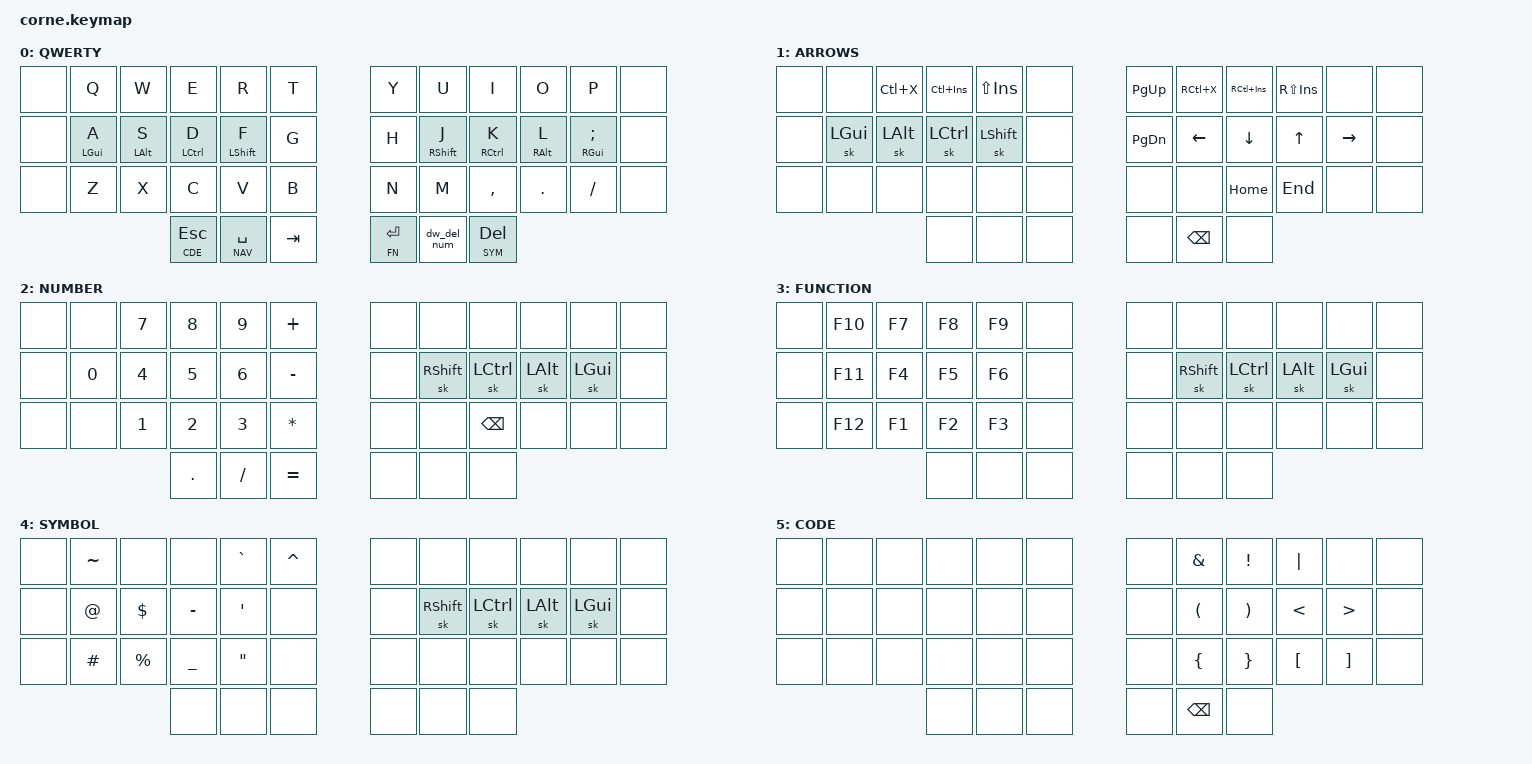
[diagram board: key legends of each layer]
/*
* Copyright (c) 2020 The ZMK Contributors
*
* SPDX-License-Identifier: MIT
*/

#include <behaviors.dtsi>
#include <dt-bindings/zmk/keys.h>

#include "zmk-helpers/helper.h"

// 42 key matrix
#include "zmk-helpers/key-labels/42.h"

/* global settings */

#define COMBO_TERM_FAST 18
#define COMBO_TERM_SLOW 30

#define COMBO_IDLE_FAST 150
#define COMBO_IDLE_SLOW 50

/* layer and key shortcuts */

#define XXX &none
#define ___ &trans

#define TAP_TERM_MS 250

#define DEF 0  // layer shortcuts, must match order in which they are defined below
#define NAV 1
#define NUM 2
#define FN 3
#define SYM 4
#define CDE 5

/* custom behaviors */

// homerow mods
ZMK_BEHAVIOR(hrm, hold_tap,
    flavor = "balanced";
    tapping-term-ms = <TAP_TERM_MS>;
    quick-tap-ms = <125>;
    bindings = <&kp>, <&kp>;
)

// tap: sticky shift | double tap: capsword
ZMK_BEHAVIOR(ss_cw, tap_dance,
    tapping-term-ms = <TAP_TERM_MS>;
    bindings = <&sk LSHFT>, <&caps_word>;
)

// tap: delete word (ctrl+backspace) | shift + tap: delete | hold: num layer
ZMK_BEHAVIOR(dw_del_num, mod_morph,
    bindings = <&lt NUM RC(BSPC)>, <&kp DEL>;
    mods = <(MOD_LSFT|MOD_RSFT)>;
)

/* combos */

// ZMK_COMBO(left_par, &kp LPAR, RT0 RT1, QWERTY, COMBO_TERM_FAST, COMBO_IDLE_FAST)
// ZMK_COMBO(right_par, &kp RPAR, RT2 RT3, QWERTY, COMBO_TERM_FAST, COMBO_IDLE_FAST)

/* keymap */

ZMK_LAYER(QWERTY,
     // ╭─────────────┬─────────────┬─────────────┬─────────────┬─────────────╮   ╭─────────────┬─────────────┬─────────────┬─────────────┬─────────────╮
          XXX &kp Q         &kp W         &kp E         &kp R         &kp T         &kp Y         &kp U         &kp I         &kp O         &kp P          XXX
     // ├─────────────┼─────────────┼─────────────┼─────────────┼─────────────┤   ├─────────────┼─────────────┼─────────────┼─────────────┼─────────────┤
          XXX &hrm LGUI A   &hrm LALT S   &hrm LCTRL D  &hrm LSHFT F  &kp G         &kp H         &hrm RSHFT J  &hrm RCTRL K  &hrm RALT L   &hrm RGUI SEMI XXX
     // ├─────────────┼─────────────┼─────────────┼─────────────┼─────────────┤   ├─────────────┼─────────────┼─────────────┼─────────────┼─────────────┤
          XXX &kp Z         &kp X         &kp C         &kp V         &kp B         &kp N         &kp M         &kp COMMA     &kp DOT       &kp FSLH       XXX
     // ╰─────────────┼─────────────┼─────────────┼─────────────┼─────────────┤   ├─────────────┼─────────────┼─────────────┼─────────────┼─────────────┤
                                      &lt CDE ESC      &lt NAV SPACE &kp TAB       &lt FN RET    &dw_del_num   &lt SYM DEL
     //                             ╰─────────────┴─────────────┴─────────────╯   ╰─────────────┴─────────────┴─────────────╯
)

ZMK_LAYER(ARROWS,
     // ╭─────────────┬─────────────┬─────────────┬─────────────┬─────────────╮   ╭─────────────┬─────────────┬─────────────┬─────────────┬─────────────╮
          XXX XXX       &kp LC(X)     &kp LC(INS)   &kp LS(INS)       XXX           &kp PG_UP     &kp RC(X)     &kp RC(INS)   &kp RS(INS)  XXX             XXX
     // ├─────────────┼─────────────┼─────────────┼─────────────┼─────────────┤   ├─────────────┼─────────────┼─────────────┼─────────────┼─────────────┤
          XXX &sk LGUI      &sk LALT      &sk LCTRL     &sk LSHFT     XXX           &kp PG_DN     &kp LEFT      &kp DOWN      &kp UP       &kp RIGHT       XXX
     // ├─────────────┼─────────────┼─────────────┼─────────────┼─────────────┤   ├─────────────┼─────────────┼─────────────┼─────────────┼─────────────┤
          XXX XXX           XXX           XXX           XXX           XXX           XXX           XXX           &kp HOME           &kp END          XXX    XXX
     // ╰─────────────┼─────────────┼─────────────┼─────────────┼─────────────┤   ├─────────────┼─────────────┼─────────────┼─────────────┼─────────────┤
                                      XXX           XXX           XXX               XXX           &kp BSPC          XXX
     //                             ╰─────────────┴─────────────┴─────────────╯   ╰─────────────┴─────────────┴─────────────╯
)

ZMK_LAYER(NUMBER,
     // ╭─────────────┬─────────────┬─────────────┬─────────────┬─────────────╮   ╭─────────────┬─────────────┬─────────────┬─────────────┬─────────────╮
          XXX XXX       &kp N7        &kp N8        &kp N9        &kp PLUS          XXX           XXX           XXX           XXX           XXX            XXX
     // ├─────────────┼─────────────┼─────────────┼─────────────┼─────────────┤   ├─────────────┼─────────────┼─────────────┼─────────────┼─────────────┤
          XXX &kp N0    &kp N4        &kp N5        &kp N6        &kp MINUS         XXX           &sk RSHFT     &sk LCTRL     &sk LALT      &sk LGUI       XXX
     // ├─────────────┼─────────────┼─────────────┼─────────────┼─────────────┤   ├─────────────┼─────────────┼─────────────┼─────────────┼─────────────┤
          XXX XXX       &kp N1        &kp N2        &kp N3        &kp STAR          XXX           XXX           &kp BSPC           XXX           XXX       XXX
     // ╰─────────────┼─────────────┼─────────────┼─────────────┼─────────────┤   ├─────────────┼─────────────┼─────────────┼─────────────┼─────────────┤
                                      &kp DOT       &kp FSLH      &kp EQUAL         XXX           XXX          XXX
     //                             ╰─────────────┴─────────────┴─────────────╯   ╰─────────────┴─────────────┴─────────────╯
)

ZMK_LAYER(FUNCTION,
     // ╭─────────────┬─────────────┬─────────────┬─────────────┬─────────────╮   ╭─────────────┬─────────────┬─────────────┬─────────────┬─────────────╮
          XXX &kp F10       &kp F7        &kp F8        &kp F9        XXX          XXX           XXX           XXX           XXX           XXX             XXX
     // ├─────────────┼─────────────┼─────────────┼─────────────┼─────────────┤   ├─────────────┼─────────────┼─────────────┼─────────────┼─────────────┤
          XXX &kp F11    &kp F4        &kp F5        &kp F6        XXX         XXX           &sk RSHFT     &sk LCTRL     &sk LALT      &sk LGUI            XXX
     // ├─────────────┼─────────────┼─────────────┼─────────────┼─────────────┤   ├─────────────┼─────────────┼─────────────┼─────────────┼─────────────┤
          XXX &kp F12       &kp F1        &kp F2        &kp F3        XXX          XXX           XXX           XXX           XXX           XXX             XXX
     // ╰─────────────┼─────────────┼─────────────┼─────────────┼─────────────┤   ├─────────────┼─────────────┼─────────────┼─────────────┼─────────────┤
                                      XXX       XXX      XXX         XXX           XXX          XXX
     //                             ╰─────────────┴─────────────┴─────────────╯   ╰─────────────┴─────────────┴─────────────╯
)

ZMK_LAYER(SYMBOL,
     // ╭─────────────┬─────────────┬─────────────┬─────────────┬─────────────╮   ╭─────────────┬─────────────┬─────────────┬─────────────┬─────────────╮
          XXX &kp TILDE       XXX        XXX        &kp GRAVE          &kp CARET   XXX          XXX           XXX           XXX           XXX              XXX
     // ├─────────────┼─────────────┼─────────────┼─────────────┼─────────────┤   ├─────────────┼─────────────┼─────────────┼─────────────┼─────────────┤
          XXX &kp AT    &kp DLLR        &kp MINUS        &kp SQT        XXX         XXX           &sk RSHFT     &sk LCTRL     &sk LALT      &sk LGUI       XXX
     // ├─────────────┼─────────────┼─────────────┼─────────────┼─────────────┤   ├─────────────┼─────────────┼─────────────┼─────────────┼─────────────┤
          XXX &kp HASH       &kp PRCNT        &kp UNDER        &kp DQT        XXX          XXX           XXX           XXX           XXX           XXX     XXX
     // ╰─────────────┼─────────────┼─────────────┼─────────────┼─────────────┤   ├─────────────┼─────────────┼─────────────┼─────────────┼─────────────┤
                                      XXX       XXX      XXX         XXX           XXX          XXX
     //                             ╰─────────────┴─────────────┴─────────────╯   ╰─────────────┴─────────────┴─────────────╯
)

ZMK_LAYER(CODE,
     // ╭─────────────┬─────────────┬─────────────┬─────────────┬─────────────╮   ╭─────────────┬─────────────┬─────────────┬─────────────┬─────────────╮
          XXX  XXX       XXX        XXX         XXX           XXX                    XXX           &kp AMPS       &kp EXCL     &kp PIPE        XXX         XXX
     // ├─────────────┼─────────────┼─────────────┼─────────────┼─────────────┤   ├─────────────┼─────────────┼─────────────┼─────────────┼─────────────┤
          XXX  XXX     XXX         XXX         XXX        XXX                        XXX           &kp LPAR       &kp RPAR     &kp LT         &kp GT       XXX
     // ├─────────────┼─────────────┼─────────────┼─────────────┼─────────────┤   ├─────────────┼─────────────┼─────────────┼─────────────┼─────────────┤
          XXX  XXX     XXX         XXX         XXX        XXX                        XXX           &kp LBRC       &kp RBRC     &kp LBKT       &kp RBKT     XXX           
     // ╰─────────────┼─────────────┼─────────────┼─────────────┼─────────────┤   ├─────────────┼─────────────┼─────────────┼─────────────┼─────────────┤
                                      XXX       XXX      XXX                         XXX           &kp BSPC       XXX
     //                             ╰─────────────┴─────────────┴─────────────╯   ╰─────────────┴─────────────┴─────────────╯
)
